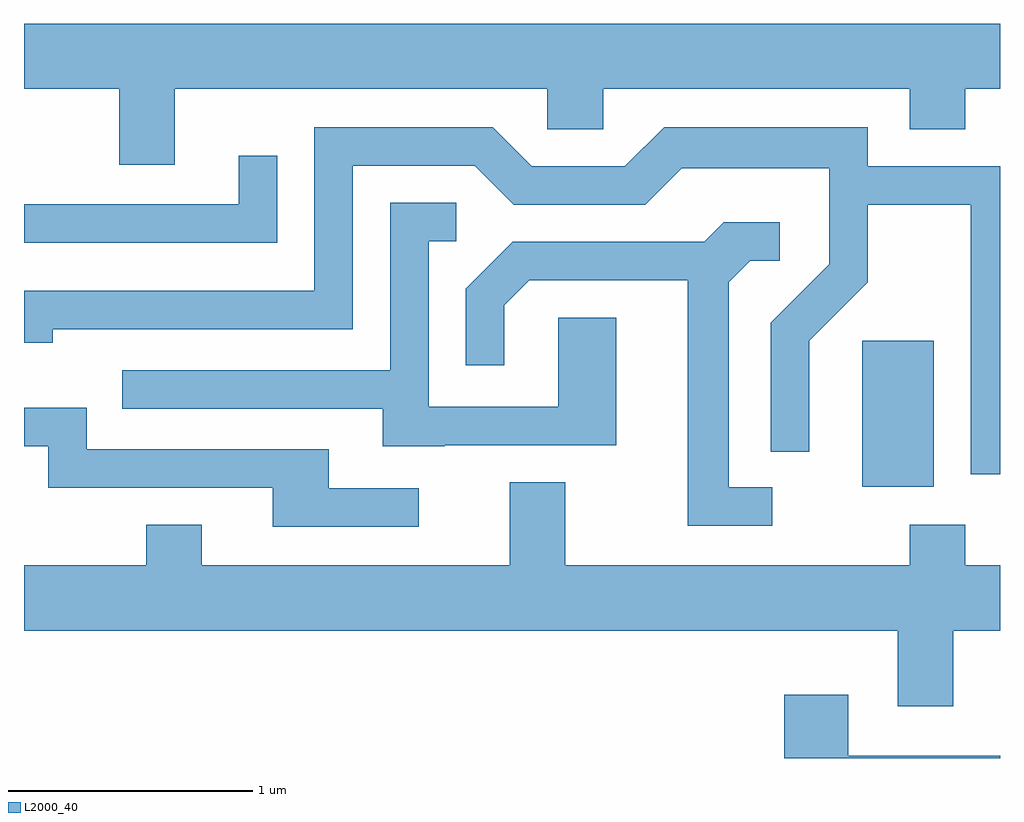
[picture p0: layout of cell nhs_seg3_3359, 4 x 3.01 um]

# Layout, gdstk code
import gdstk
lib = gdstk.Library(unit=1e-6, precision=1e-09)
def R(c, l, rs):  # rectangles x0, y0, x1, y1
    for r in rs: c.add(gdstk.rectangle(r[:2], r[2:], *l))
def P(c, l, *ps):  # polygons
    for p in ps: c.add(gdstk.Polygon(p, *l))
L2000_40 = (2000, 40)

nhs_seg3_3359 = lib.new_cell('nhs_seg3_3359')
R(nhs_seg3_3359, L2000_40, [(287.046,1171.006,287.339,1171.604)])
P(nhs_seg3_3359, L2000_40, [(284.229,1172.636),(285.756,1172.636),(285.756,1172.471),(285.984,1172.471),(285.984,1172.636),(287.241,1172.636),(287.241,1172.471),(287.469,1172.471),(287.469,1172.636),(287.611,1172.636),(287.611,1172.904),(283.611,1172.904),(283.611,1172.636),(284.001,1172.636),(284.001,1172.326),(284.229,1172.326)],
  [(287.611,1172.319),(287.069,1172.319),(287.069,1172.479),(286.234,1172.479),(286.074,1172.319),(285.692,1172.319),(285.532,1172.479),(284.801,1172.479),(284.801,1171.809),(283.611,1171.809),(283.611,1171.596),(283.729,1171.596),(283.729,1171.651),(284.959,1171.651),(284.959,1172.321),(285.459,1172.321),(285.619,1172.161),(286.157,1172.161),(286.307,1172.311),(286.911,1172.311),(286.911,1171.917),(286.671,1171.677),(286.671,1171.148),(286.829,1171.148),(286.829,1171.604),(287.069,1171.844),(287.069,1172.161),(287.491,1172.161),(287.491,1171.056),(287.611,1171.056)],
  [(284.649,1172.363),(284.491,1172.363),(284.491,1172.164),(283.611,1172.164),(283.611,1172.006),(284.649,1172.006)],
  [(285.335,1171.176),(286.039,1171.176),(286.039,1171.699),(285.801,1171.699),(285.801,1171.334),(285.269,1171.334),(285.269,1172.011),(285.383,1172.011),(285.383,1172.169),(285.111,1172.169),(285.111,1171.484),(284.013,1171.484),(284.013,1171.326),(285.081,1171.326),(285.081,1171.171),(285.335,1171.171)],
  [(286.678,1171.004),(286.499,1171.004),(286.499,1171.844),(286.587,1171.931),(286.708,1171.931),(286.708,1172.089),(286.479,1172.089),(286.399,1172.009),(285.614,1172.009),(285.421,1171.817),(285.421,1171.503),(285.579,1171.503),(285.579,1171.749),(285.682,1171.851),(286.331,1171.851),(286.331,1170.846),(286.678,1170.846)],
  [(285.228,1170.999),(284.859,1170.999),(284.859,1171.159),(283.869,1171.159),(283.869,1171.329),(283.611,1171.329),(283.611,1171.171),(283.711,1171.171),(283.711,1171.001),(284.631,1171.001),(284.631,1170.841),(285.228,1170.841)],
  [(287.419,1170.416),(287.611,1170.416),(287.611,1170.684),(287.469,1170.684),(287.469,1170.849),(287.241,1170.849),(287.241,1170.684),(285.829,1170.684),(285.829,1171.024),(285.601,1171.024),(285.601,1170.684),(284.339,1170.684),(284.339,1170.849),(284.111,1170.849),(284.111,1170.684),(283.611,1170.684),(283.611,1170.416),(287.191,1170.416),(287.191,1170.106),(287.419,1170.106)],
  [(287.611,1169.904),(286.989,1169.904),(286.989,1170.154),(286.726,1170.154),(286.726,1169.892),(287.611,1169.892)])

lib.write_gds('nhs_seg3_3359.gds')
